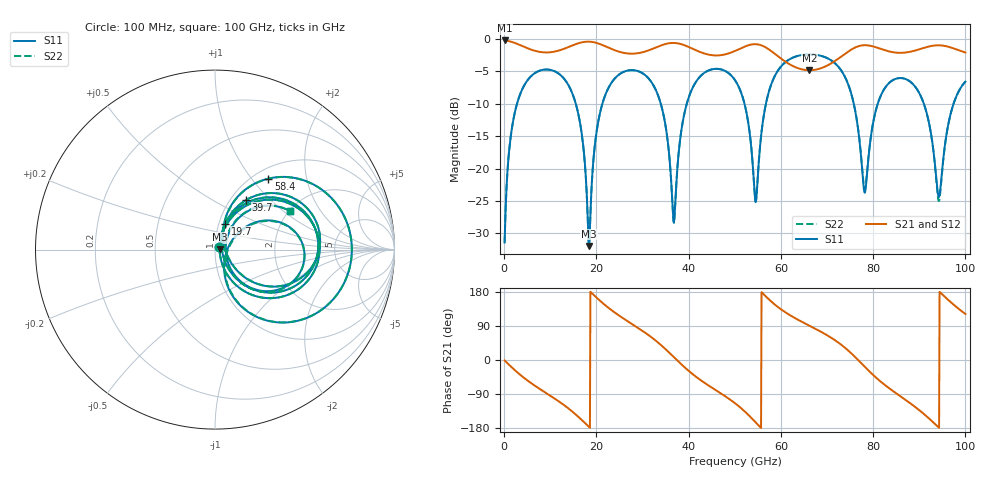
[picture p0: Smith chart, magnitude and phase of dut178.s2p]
! Touchstone file exported from HFSS 2026.1.0
!  File:  C:/ffzhzh/LocalFiles/Ansys_Project_Files/temp_test_TSV_RDL_178_1783475478_46308.aedt
!  Generated:  10:05:33 AM Jul  8, 2026
!  Design:  TSV_RDL
!  Project:  temp_test_TSV_RDL_178_1783475478_46308
! Variables:
!  h_bsmrdl = 2.6um
!  h_ox = 20um
!  h_rdl = 5um
!  h_sub = 68.15um
!  h_tmrdl = 2.44um
!  h_tsv = 68.15um
!  h_via = 3um
!  l_bsmrdl = 168.31um
!  l_sub = 3271.52um
!  l_tmrdl = 563.02um
!  m_sub = 200um
!  pitch = 47.21um
!  r_tsv = 5.3um
!  s_tmrdl = 10um
!  w_bsmrdl = 19.16um
!  w_sub = 500um
!  w_tmrdl = 19.01um
!  x_tsv_center1 = 572.525um
!  x_tsv_center2 = 759.995um
!  x_tsv_center3 = 1342.025um
!  x_tsv_center4 = 1529.495um
!  x_tsv_center5 = 2111.525um
!  x_tsv_center6 = 2298.995um
# GHz S MA R 50.000000
! Terminal data exported
! Port[1] = TM_RDL1_1_T1
! Port[2] = TM_RDL5_1_T1
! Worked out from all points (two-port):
!   1000 points, 100 MHz to 100 GHz, reference 50 ohm
!   highest |S21| = -0.20 dB at 100 MHz (marker M1); lowest = -4.8 dB at 66.2 GHz (marker M2)
!   |S21| within 3 dB of the highest: start of sweep to 60.42 GHz; 72.08 GHz to end of sweep
!   lowest |S11| = -32.0 dB at 18.4 GHz (marker M3), VSWR 1.05, Z = 52.6 + j0.175 ohm
!   |S11| at or under -10 dB: 15.53 GHz to 21.29 GHz (5.755 GHz wide, 31.3 % of centre); 33.96 GHz to 39.59 GHz (5.628 GHz wide, 15.3 % of centre); 91 GHz to 97.42 GHz (6.425 GHz wide, 6.82 % of centre) (the widest 3 of 6)
!   |S22| runs from -32.0 to -2.4 dB; largest |S21 - S12| = 1.5e-12
!   S11 on the Smith chart (normalised r, x): 100 MHz: 1.05, +0.03; 19.7 GHz: 1.08, +0.32; 39.7 GHz: 1.18, +0.73; 58.4 GHz: 1.16, +1.22; 100 GHz: 2.03, +1.11
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0.1  0.02678 28.8  0.9767 -1.2  0.9767 -1.2  0.02678 28.8
! Gamma 0 0 0 0
! Port Impedance 50 0 50 0
1.9  0.2283 60.7  0.9458 -22.2  0.9458 -22.2  0.2283 60.7
5.4  0.4979 30.0  0.8412 -57.1  0.8412 -57.1  0.4979 30.0
10.6  0.5708 -10.0  0.7971 -99.0  0.7971 -99.0  0.5708 -10.0
16.8  0.1881 -62.2  0.9437 -157.9  0.9437 -157.9  0.1881 -62.2
18.4  0.02517 3.8  0.9561 -176.5  0.9561 -176.5  0.0251 3.8
19.7  0.1554 67.9  0.9414 168.4  0.9414 168.4  0.1554 67.9
24.8  0.5289 25.9  0.802 118.2  0.802 118.2  0.5288 25.9
33.4  0.3648 -40.7  0.8764 45.8  0.8764 45.8  0.3647 -40.7
36.8  0.03826 8.3  0.9346 7.5  0.9346 7.5  0.03806 8.5
39.7  0.3263 57.8  0.8791 -25.5  0.8791 -25.5  0.3264 57.9
50.1  0.4788 -21.9  0.8117 -114.6  0.8117 -114.6  0.4789 -21.8
54.5  0.05492 8.7  0.914 -164.2  0.914 -164.2  0.05614 8.9
58.4  0.4946 53.1  0.7844 149.1  0.7844 149.1  0.4948 53.0
66.2  0.7625 0.0  0.5752 90.4  0.5752 90.4  0.7626 0.0
66.7  0.7617 -2.8  0.5761 87.3  0.5761 87.3  0.7618 -2.8
74.4  0.4652 -56.1  0.793 27.1  0.793 27.1  0.4654 -55.8
78.2  0.06496 -14.4  0.8978 -18.1  0.8978 -18.1  0.06863 -14.6
83.4  0.4561 12.7  0.8046 -73.9  0.8046 -73.9  0.4565 12.1
90.4  0.3579 -40.2  0.8427 -136.4  0.8427 -136.4  0.3577 -41.0
94.2  0.06017 -3.3  0.8962 -177.9  0.8962 -177.9  0.05613 -4.0
100  0.4694 27.2  0.7885 121.4  0.7885 121.4  0.4691 27.3
